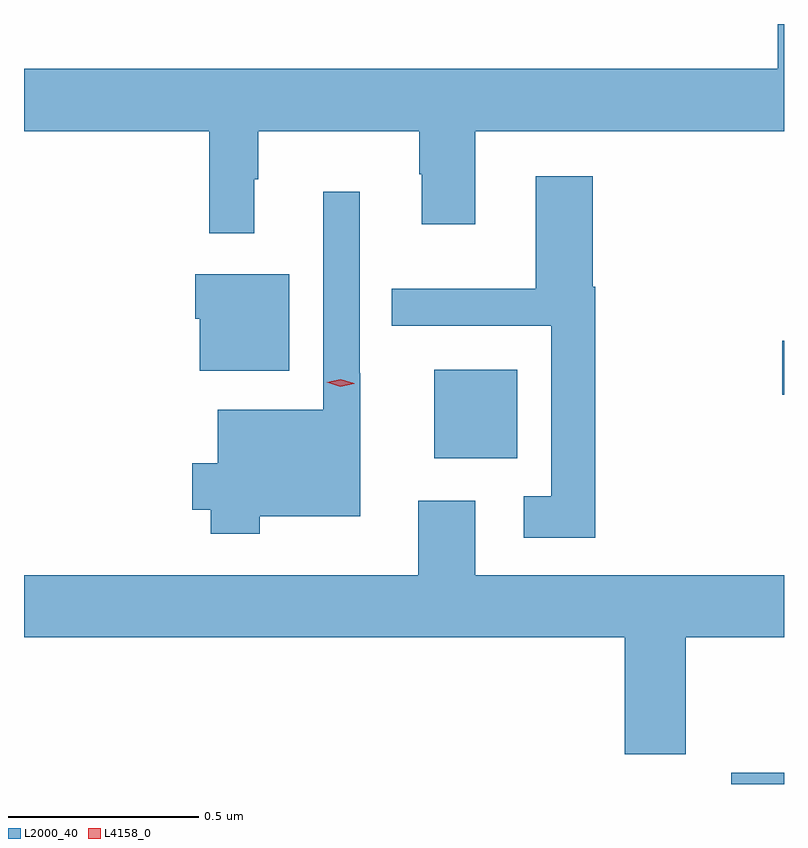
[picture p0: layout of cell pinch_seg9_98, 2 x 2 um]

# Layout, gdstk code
import gdstk
lib = gdstk.Library(unit=1e-6, precision=1e-09)
def R(c, l, rs):  # rectangles x0, y0, x1, y1
    for r in rs: c.add(gdstk.rectangle(r[:2], r[2:], *l))
def P(c, l, *ps):  # polygons
    for p in ps: c.add(gdstk.Polygon(p, *l))
L2000_40 = (2000, 40)
L4158_0 = (4158, 0)

pinch_seg9_98 = lib.new_cell('pinch_seg9_98')
R(pinch_seg9_98, L2000_40, [(1105.371,1166.73,1105.51,1166.76), (1104.59,1167.587,1104.808,1167.82), (1105.506,1167.754,1105.51,1167.896)])
P(pinch_seg9_98, L2000_40, [(1103.51,1168.448),(1103.998,1168.448),(1103.998,1168.179),(1104.116,1168.179),(1104.116,1168.322),(1104.127,1168.322),(1104.127,1168.448),(1104.55,1168.448),(1104.55,1168.334),(1104.557,1168.334),(1104.557,1168.203),(1104.697,1168.203),(1104.697,1168.448),(1105.51,1168.448),(1105.51,1168.73),(1105.493,1168.73),(1105.493,1168.612),(1103.51,1168.612)],
  [(1105.013,1168.039),(1105.007,1168.039),(1105.007,1168.33),(1104.857,1168.33),(1104.857,1168.033),(1104.478,1168.033),(1104.478,1167.936),(1104.897,1167.936),(1104.897,1167.487),(1104.825,1167.487),(1104.825,1167.378),(1105.013,1167.378)],
  [(1104.13,1167.434),(1104.395,1167.434),(1104.395,1167.811),(1104.393,1167.811),(1104.393,1168.288),(1104.297,1168.288),(1104.297,1167.715),(1104.02,1167.715),(1104.02,1167.574),(1103.953,1167.574),(1103.953,1167.452),(1104.001,1167.452),(1104.001,1167.389),(1104.13,1167.389)],
  [(1104.208,1168.072),(1103.96,1168.072),(1103.96,1167.954),(1103.972,1167.954),(1103.972,1167.818),(1104.208,1167.818)],
  [(1105.251,1167.116),(1105.51,1167.116),(1105.51,1167.28),(1104.697,1167.28),(1104.697,1167.475),(1104.548,1167.475),(1104.548,1167.28),(1103.51,1167.28),(1103.51,1167.116),(1105.091,1167.116),(1105.091,1166.808),(1105.251,1166.808)])
P(pinch_seg9_98, L4158_0, [(1104.342,1167.775),(1104.307,1167.787),(1104.307,1167.787),(1104.307,1167.787),(1104.343,1167.795),(1104.379,1167.784),(1104.379,1167.784),(1104.379,1167.783)])

lib.write_gds('pinch_seg9_98.gds')
